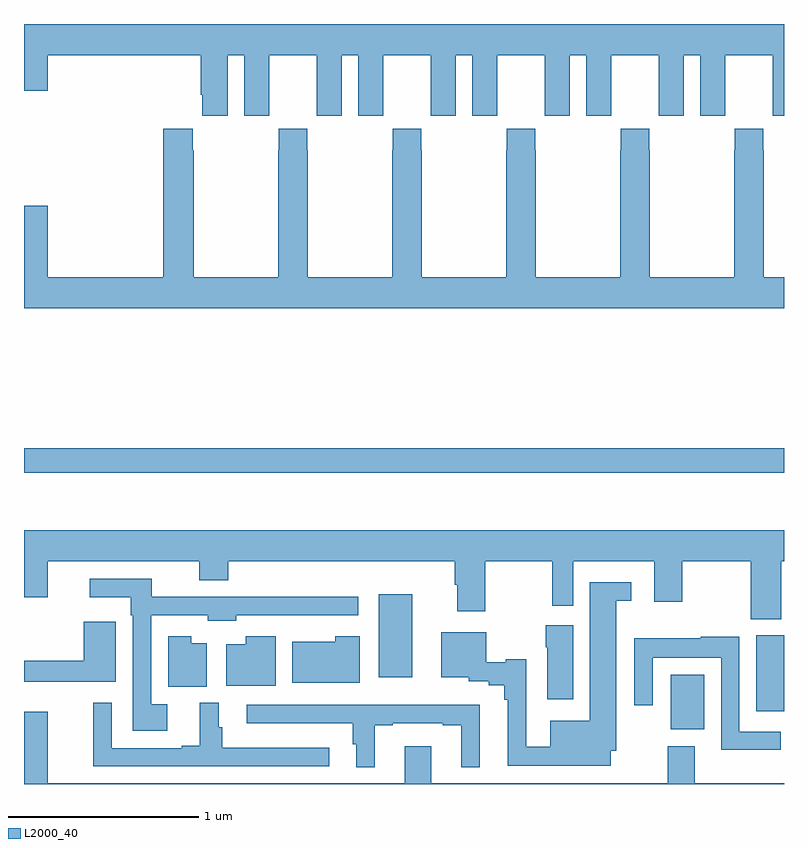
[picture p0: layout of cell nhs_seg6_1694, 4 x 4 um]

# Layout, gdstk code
import gdstk
lib = gdstk.Library(unit=1e-6, precision=1e-09)
def R(c, l, rs):  # rectangles x0, y0, x1, y1
    for r in rs: c.add(gdstk.rectangle(r[:2], r[2:], *l))
def P(c, l, *ps):  # polygons
    for p in ps: c.add(gdstk.Polygon(p, *l))
L2000_40 = (2000, 40)

nhs_seg6_1694 = lib.new_cell('nhs_seg6_1694')
R(nhs_seg6_1694, L2000_40, [(216.404,943.787,216.58,944.074), (216.854,943.884,217,944.283), (214.868,944.063,215.044,944.5), (213,945.138,217,945.266)])
P(nhs_seg6_1694, L2000_40, [(213,947.148),(213.124,947.148),(213.124,947.336),(213.929,947.336),(213.929,947.128),(213.938,947.128),(213.938,947.016),(214.072,947.016),(214.072,947.336),(214.16,947.336),(214.16,947.016),(214.29,947.016),(214.29,947.128),(214.291,947.128),(214.291,947.336),(214.541,947.336),(214.541,947.128),(214.542,947.128),(214.542,947.016),(214.672,947.016),(214.672,947.336),(214.76,947.336),(214.76,947.016),(214.89,947.016),(214.89,947.128),(214.891,947.128),(214.891,947.336),(215.141,947.336),(215.141,947.128),(215.142,947.128),(215.142,947.016),(215.272,947.016),(215.272,947.336),(215.36,947.336),(215.36,947.016),(215.49,947.016),(215.49,947.128),(215.491,947.128),(215.491,947.336),(215.741,947.336),(215.741,947.128),(215.742,947.128),(215.742,947.016),(215.872,947.016),(215.872,947.336),(215.96,947.336),(215.96,947.016),(216.09,947.016),(216.09,947.128),(216.091,947.128),(216.091,947.336),(216.341,947.336),(216.341,947.128),(216.342,947.128),(216.342,947.016),(216.472,947.016),(216.472,947.336),(216.56,947.336),(216.56,947.016),(216.69,947.016),(216.69,947.128),(216.691,947.128),(216.691,947.336),(216.941,947.336),(216.941,947.128),(216.942,947.128),(216.942,947.016),(217,947.016),(217,947.5),(213,947.5)],
  [(217,946.168),(216.894,946.168),(216.894,946.835),(216.891,946.835),(216.891,946.948),(216.741,946.948),(216.741,946.835),(216.739,946.835),(216.739,946.168),(216.294,946.168),(216.294,946.835),(216.291,946.835),(216.291,946.948),(216.141,946.948),(216.141,946.835),(216.139,946.835),(216.139,946.168),(215.694,946.168),(215.694,946.835),(215.691,946.835),(215.691,946.948),(215.541,946.948),(215.541,946.835),(215.539,946.835),(215.539,946.168),(215.094,946.168),(215.094,946.835),(215.091,946.835),(215.091,946.948),(214.941,946.948),(214.941,946.835),(214.939,946.835),(214.939,946.168),(214.494,946.168),(214.494,946.835),(214.491,946.835),(214.491,946.948),(214.341,946.948),(214.341,946.835),(214.339,946.835),(214.339,946.168),(213.894,946.168),(213.894,946.835),(213.887,946.835),(213.887,946.948),(213.734,946.948),(213.734,946.168),(213.124,946.168),(213.124,946.543),(213,946.543),(213,946.004),(217,946.004)],
  [(216.986,944.672),(217,944.672),(217,944.836),(213,944.836),(213,944.484),(213.124,944.484),(213.124,944.672),(213.923,944.672),(213.923,944.573),(214.076,944.573),(214.076,944.672),(215.267,944.672),(215.267,944.549),(215.279,944.549),(215.279,944.409),(215.427,944.409),(215.427,944.672),(215.779,944.672),(215.779,944.439),(215.89,944.439),(215.89,944.672),(216.317,944.672),(216.317,944.46),(216.465,944.46),(216.465,944.672),(216.826,944.672),(216.826,944.368),(216.986,944.368)],
  [(213.754,943.921),(213.669,943.921),(213.669,944.388),(213.966,944.388),(213.966,944.36),(214.116,944.36),(214.116,944.388),(214.42,944.388),(214.42,944.387),(214.759,944.387),(214.759,944.486),(213.672,944.486),(213.672,944.58),(213.345,944.58),(213.345,944.483),(213.561,944.483),(213.561,944.387),(213.573,944.387),(213.573,943.781),(213.754,943.781)],
  [(216.088,943.676),(216.118,943.676),(216.118,944.465),(216.196,944.465),(216.196,944.562),(215.978,944.562),(215.978,943.834),(215.771,943.834),(215.771,943.695),(215.643,943.695),(215.643,944.156),(215.535,944.156),(215.535,944.141),(215.434,944.141),(215.434,944.299),(215.195,944.299),(215.195,944.063),(215.34,944.063),(215.34,944.04),(215.445,944.04),(215.445,944.02),(215.527,944.02),(215.527,943.943),(215.546,943.943),(215.546,943.596),(215.875,943.596),(215.875,943.595),(216.088,943.595)],
  [(213.484,944.353),(213.314,944.353),(213.314,944.149),(213,944.149),(213,944.039),(213.484,944.039)],
  [(215.89,944.335),(215.746,944.335),(215.746,944.219),(215.753,944.219),(215.753,943.947),(215.89,943.947)],
  [(214.768,944.278),(214.639,944.278),(214.639,944.248),(214.412,944.248),(214.412,944.033),(214.768,944.033)],
  [(214.324,944.278),(214.167,944.278),(214.167,944.236),(214.064,944.236),(214.064,944.018),(214.324,944.018)],
  [(213.961,944.242),(213.88,944.242),(213.88,944.278),(213.758,944.278),(213.758,944.012),(213.961,944.012)],
  [(216.982,943.776),(216.765,943.776),(216.765,944.276),(216.562,944.276),(216.562,944.266),(216.213,944.266),(216.213,943.914),(216.309,943.914),(216.309,944.165),(216.669,944.165),(216.669,943.679),(216.982,943.679)],
  [(214.606,943.69),(214.043,943.69),(214.043,943.8),(214.024,943.8),(214.024,943.927),(213.926,943.927),(213.926,943.702),(213.83,943.702),(213.83,943.689),(213.462,943.689),(213.462,943.927),(213.364,943.927),(213.364,943.593),(214.606,943.593)],
  [(214.846,943.809),(214.942,943.809),(214.942,943.821),(215.204,943.821),(215.204,943.809),(215.3,943.809),(215.3,943.589),(215.398,943.589),(215.398,943.918),(214.872,943.918),(214.872,943.917),(214.173,943.917),(214.173,943.82),(214.729,943.82),(214.729,943.71),(214.748,943.71),(214.748,943.589),(214.846,943.589)],
  [(217,943.504),(216.529,943.504),(216.529,943.699),(216.389,943.699),(216.389,943.504),(215.143,943.504),(215.143,943.699),(215.003,943.699),(215.003,943.504),(213.124,943.504),(213.124,943.879),(213,943.879),(213,943.5),(217,943.5)])

lib.write_gds('nhs_seg6_1694.gds')
